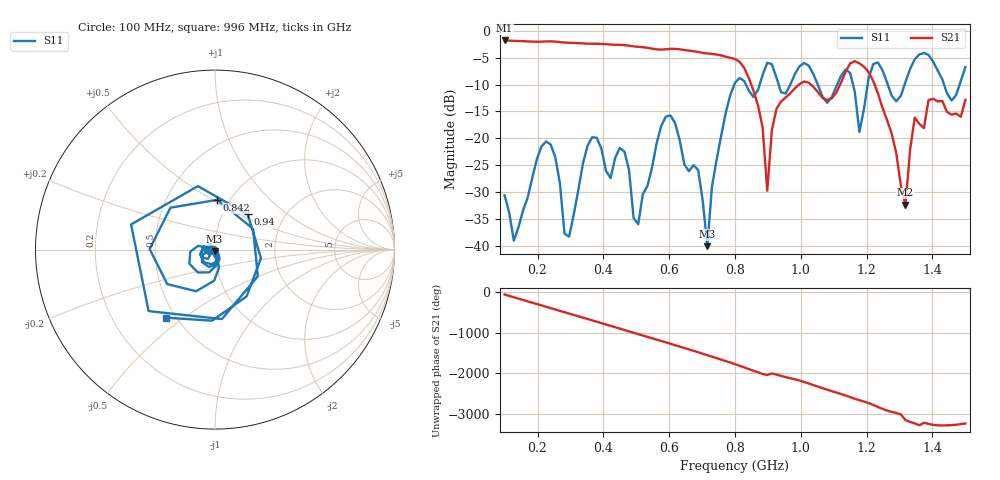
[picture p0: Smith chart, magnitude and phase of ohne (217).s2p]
! NanoVNA-App
! Date: 2025-09-25 14:22:29
! Start: 100MHz Stop: 1,5GHz Points: 101
! S-Parameter data: F S11 S21 S12 S22
# Hz S RI R 50
!  Frequency  S11_Real  S11_Imag  S21_Real  S21_Imag  S12_Real  S12_Imag  S22_Real  S22_Imag
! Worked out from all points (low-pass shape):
!   101 points, 100 MHz to 1.5 GHz, reference 50 ohm
!   highest |S21| = -1.79 dB at 100 MHz (marker M1); lowest = -32.4 dB at 1.318 GHz (marker M2)
!   |S21| within 3 dB of the highest: start of sweep to 770.6 MHz
!   lowest |S11| = -40.1 dB at 716 MHz (marker M3), VSWR 1.02, Z = 49.8 - j0.954 ohm
!   |S11| at or under -10 dB: start of sweep to 798 MHz; 833.1 MHz to 875.1 MHz (41.97 MHz wide, 4.91 % of centre); 1.051 GHz to 1.11 GHz (59.14 MHz wide, 5.47 % of centre)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
!   S12 and S22 are empty: the file has one direction only
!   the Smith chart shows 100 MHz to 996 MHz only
!   S11 on the Smith chart (normalised r, x): 100 MHz: 0.94, -0.01; 842 MHz: 0.88, +0.53; 940 MHz: 1.31, +0.56; 996 MHz: 0.44, -0.43
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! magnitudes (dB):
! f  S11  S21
! 100 MHz  -30.6  -1.8
! 128 MHz  -39.1  -1.9
! 226 MHz  -20.6  -2.0
! 296 MHz  -38.3  -2.2
! 338 MHz  -24.7  -2.3
! 464 MHz  -22.5  -2.7
! 506 MHz  -36.0  -3.0
! 576 MHz  -17.7  -3.5
! 688 MHz  -25.9  -3.9
! 716 MHz  -40.1  -4.2
! 800 MHz  -9.7  -5.3
! 842 MHz  -11.1  -8.8
! 898 MHz  -5.9  -29.8
! 940 MHz  -11.4  -13.2
! 996 MHz  -6.6  -9.9
! 1.038 GHz  -8.1  -10.4
! 1.178 GHz  -18.9  -6.1
! 1.22 GHz  -6.2  -9.3
! 1.276 GHz  -12.1  -19.1
! 1.318 GHz  -9.5  -32.4
! 1.346 GHz  -5.3  -16.2
! 1.5 GHz  -6.8  -12.9
